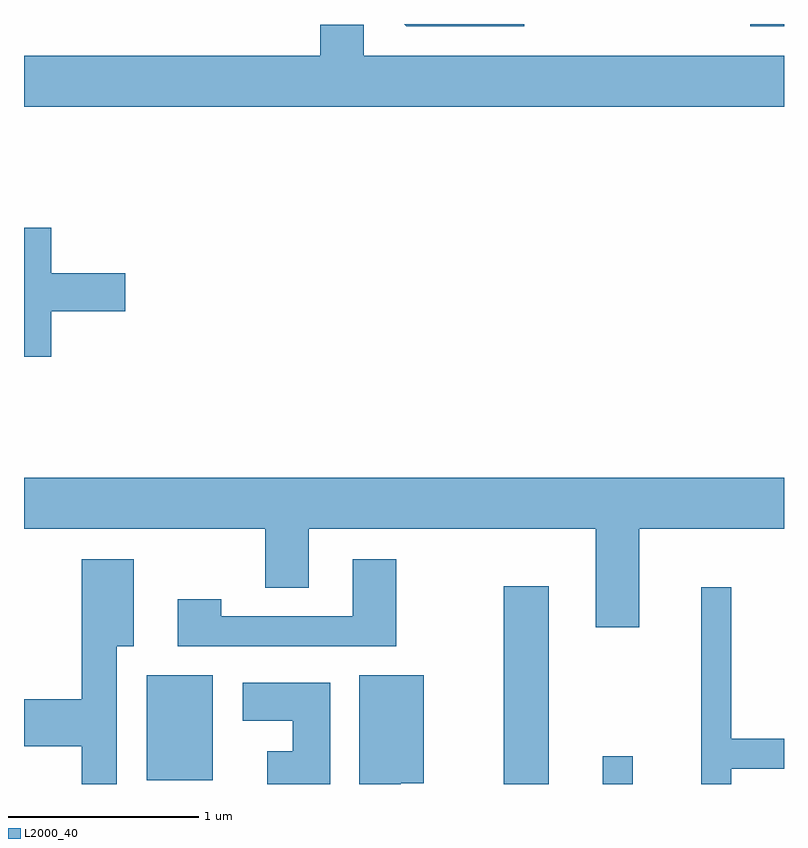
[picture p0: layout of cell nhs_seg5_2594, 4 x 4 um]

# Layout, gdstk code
import gdstk
lib = gdstk.Library(unit=1e-6, precision=1e-09)
def R(c, l, rs):  # rectangles x0, y0, x1, y1
    for r in rs: c.add(gdstk.rectangle(r[:2], r[2:], *l))
def P(c, l, *ps):  # polygons
    for p in ps: c.add(gdstk.Polygon(p, *l))
L2000_40 = (2000, 40)

nhs_seg5_2594 = lib.new_cell('nhs_seg5_2594')
R(nhs_seg5_2594, L2000_40, [(264.136,1502.072,264.374,1503.114), (264.656,1502.072,264.814,1502.218), (262.256,1502.091,262.604,1502.644), (265.433,1506.061,265.611,1506.072)])
P(nhs_seg5_2594, L2000_40, [(264.244,1506.072),(263.613,1506.072),(263.624,1506.061),(264.244,1506.061)],
  [(265.611,1505.904),(263.399,1505.904),(263.399,1506.069),(263.171,1506.069),(263.171,1505.904),(261.611,1505.904),(261.611,1505.636),(265.611,1505.636)],
  [(261.754,1504.561),(262.144,1504.561),(262.144,1504.759),(261.754,1504.759),(261.754,1504.999),(261.611,1504.999),(261.611,1504.321),(261.754,1504.321)],
  [(264.849,1503.416),(265.611,1503.416),(265.611,1503.684),(261.611,1503.684),(261.611,1503.416),(262.881,1503.416),(262.881,1503.106),(263.109,1503.106),(263.109,1503.416),(264.621,1503.416),(264.621,1502.896),(264.849,1502.896)],
  [(262.099,1502.796),(262.189,1502.796),(262.189,1503.254),(261.916,1503.254),(261.916,1502.519),(261.611,1502.519),(261.611,1502.271),(261.916,1502.271),(261.916,1502.072),(262.099,1502.072)],
  [(263.569,1503.254),(263.341,1503.254),(263.341,1502.954),(262.649,1502.954),(262.649,1503.044),(262.421,1503.044),(262.421,1502.796),(263.569,1502.796)],
  [(265.334,1502.151),(265.611,1502.151),(265.611,1502.309),(265.334,1502.309),(265.334,1503.108),(265.176,1503.108),(265.176,1502.072),(265.334,1502.072)],
  [(263.594,1502.076),(263.714,1502.076),(263.714,1502.644),(263.376,1502.644),(263.376,1502.072),(263.594,1502.072)],
  [(263.224,1502.604),(262.761,1502.604),(262.761,1502.406),(263.026,1502.406),(263.026,1502.244),(262.891,1502.244),(262.891,1502.072),(263.224,1502.072)])

lib.write_gds('nhs_seg5_2594.gds')
